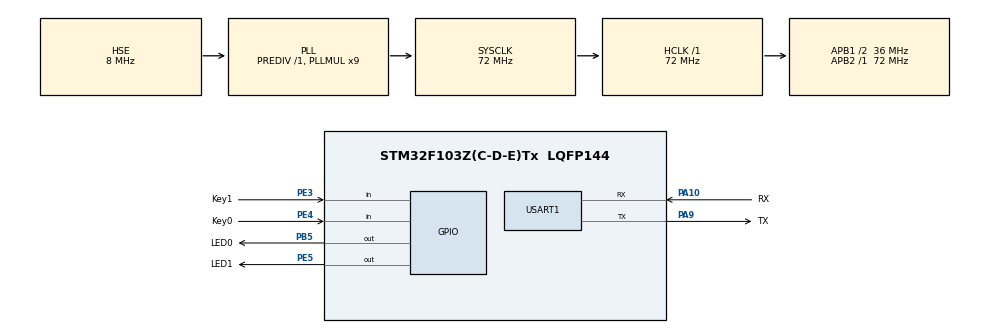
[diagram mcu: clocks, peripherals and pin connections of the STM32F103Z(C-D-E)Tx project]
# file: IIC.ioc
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Mcu.Family=STM32F1
Mcu.Name=STM32F103Z(C-D-E)Tx
Mcu.Package=LQFP144
NVIC.PriorityGroup=NVIC_PRIORITYGROUP_4
NVIC.USART1_IRQn=true\:2\:0\:true\:false\:true\:true\:true
OSC_IN.Mode=HSE-External-Oscillator
OSC_IN.Signal=RCC_OSC_IN
OSC_OUT.Mode=HSE-External-Oscillator
OSC_OUT.Signal=RCC_OSC_OUT
PA10.GPIO_Label=RX
PA10.Mode=Asynchronous
PA10.Signal=USART1_RX
PA13.Mode=Serial_Wire
PA13.Signal=SYS_JTMS-SWDIO
PA14.Mode=Serial_Wire
PA14.Signal=SYS_JTCK-SWCLK
PA9.GPIO_Label=TX
PA9.Mode=Asynchronous
PA9.Signal=USART1_TX
PB5.GPIO_Label=LED0
PB5.GPIO_ModeDefaultOutputPP=GPIO_MODE_OUTPUT_PP
PB5.GPIO_PuPd=GPIO_PULLUP
PB5.GPIO_Speed=GPIO_SPEED_FREQ_HIGH
PB5.PinState=GPIO_PIN_SET
PB5.Signal=GPIO_Output
PC14-OSC32_IN.Mode=LSE-External-Oscillator
PC14-OSC32_IN.Signal=RCC_OSC32_IN
PC15-OSC32_OUT.Mode=LSE-External-Oscillator
PC15-OSC32_OUT.Signal=RCC_OSC32_OUT
PE3.GPIO_Label=Key1
PE3.GPIO_PuPd=GPIO_PULLUP
PE3.Signal=GPIO_Input
PE4.GPIO_Label=Key0
PE4.GPIO_PuPd=GPIO_PULLUP
PE4.Signal=GPIO_Input
PE5.GPIO_Label=LED1
PE5.GPIO_ModeDefaultOutputPP=GPIO_MODE_OUTPUT_PP
PE5.GPIO_PuPd=GPIO_PULLUP
PE5.GPIO_Speed=GPIO_SPEED_FREQ_HIGH
PE5.PinState=GPIO_PIN_SET
PE5.Signal=GPIO_Output
ProjectManager.HeapSize=0x200
ProjectManager.StackSize=0x400
ProjectManager.TargetToolchain=MDK-ARM V5
RCC.AHBFreq_Value=72000000
RCC.APB1CLKDivider=RCC_HCLK_DIV2
RCC.APB1Freq_Value=36000000
RCC.APB1TimFreq_Value=72000000
RCC.APB2Freq_Value=72000000
RCC.APB2TimFreq_Value=72000000
RCC.HCLKFreq_Value=72000000
RCC.PLLMUL=RCC_PLL_MUL9
RCC.PLLSourceVirtual=RCC_PLLSOURCE_HSE
RCC.SYSCLKFreq_VALUE=72000000
RCC.SYSCLKSource=RCC_SYSCLKSOURCE_PLLCLK
RCC.USBFreq_Value=72000000
USART1.VirtualMode=VM_ASYNC
board=custom

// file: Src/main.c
/* USER CODE BEGIN Header */
/**
  ******************************************************************************
  * @file           : main.c
  * @brief          : Main program body
  ******************************************************************************
  * @attention
  *
  * <h2><center>&copy; Copyright (c) 2021 STMicroelectronics.
  * All rights reserved.</center></h2>
  *
  * This software component is licensed by ST under BSD 3-Clause license,
  * the "License"; You may not use this file except in compliance with the
  * License. You may obtain a copy of the License at:
  *                        opensource.org/licenses/BSD-3-Clause
  *
  ******************************************************************************
  */
/* USER CODE END Header */

#include "main.h"
#include "usart.h"
#include "gpio.h"

void SystemClock_Config(void);

/* USER CODE BEGIN 0 */
#define USART_REC_LEN 200
uint8_t Res;
uint8_t USART1_RX_BUF[USART_REC_LEN];
uint16_t USART1_RX_STA;
/* USER CODE END 0 */

int main(void)
{

  /* MCU Configuration--------------------------------------------------------*/

  /* Reset of all peripherals, Initializes the Flash interface and the Systick. */
  HAL_Init();

  /* Configure the system clock */
  SystemClock_Config();

  /* Initialize all configured peripherals */
  MX_GPIO_Init();
  MX_USART1_UART_Init();

  /* Infinite loop */
  /* USER CODE BEGIN WHILE */
  HAL_UART_Receive_IT(&huart1,&Res,1);
  HAL_UART_Transmit_IT(&huart1,"USART1_Yes",sizeof("USART1_Yes"));
  while(huart1.gState != HAL_UART_STATE_READY);
  while (1)
  {
	  HAL_GPIO_TogglePin(LED0_GPIO_Port,LED0_Pin);
	  HAL_Delay(200);
	  if(USART1_RX_STA &0X8000)
	  {
		  HAL_UART_Transmit_IT(&huart1,"Get_Dat:",sizeof("Get_Dat:"));
		  // 等待发送完成
		  while(huart1.gState != HAL_UART_STATE_READY);
		  HAL_UART_Transmit_IT(&huart1,USART1_RX_BUF,USART1_RX_STA&0x7FFF);
		  while(huart1.gState != HAL_UART_STATE_READY);

		  uint8_t ii=2;
		  while(ii--)
		  {
			  HAL_GPIO_TogglePin(LED1_GPIO_Port,LED1_Pin);
			  HAL_Delay(200);
		  }

		  USART1_RX_STA=0;
	  }
    /* USER CODE END WHILE */

  }
}

void SystemClock_Config(void)
{
  RCC_OscInitTypeDef RCC_OscInitStruct = {0};
  RCC_ClkInitTypeDef RCC_ClkInitStruct = {0};

  /** Initializes the CPU, AHB and APB busses clocks
  */
  RCC_OscInitStruct.OscillatorType = RCC_OSCILLATORTYPE_HSE;
  RCC_OscInitStruct.HSEState = RCC_HSE_ON;
  RCC_OscInitStruct.HSEPredivValue = RCC_HSE_PREDIV_DIV1;
  RCC_OscInitStruct.HSIState = RCC_HSI_ON;
  RCC_OscInitStruct.PLL.PLLState = RCC_PLL_ON;
  RCC_OscInitStruct.PLL.PLLSource = RCC_PLLSOURCE_HSE;
  RCC_OscInitStruct.PLL.PLLMUL = RCC_PLL_MUL9;
  if (HAL_RCC_OscConfig(&RCC_OscInitStruct) != HAL_OK)
  {
    Error_Handler();
  }
  /** Initializes the CPU, AHB and APB busses clocks
  */
  RCC_ClkInitStruct.ClockType = RCC_CLOCKTYPE_HCLK|RCC_CLOCKTYPE_SYSCLK
                              |RCC_CLOCKTYPE_PCLK1|RCC_CLOCKTYPE_PCLK2;
  RCC_ClkInitStruct.SYSCLKSource = RCC_SYSCLKSOURCE_PLLCLK;
  RCC_ClkInitStruct.AHBCLKDivider = RCC_SYSCLK_DIV1;
  RCC_ClkInitStruct.APB1CLKDivider = RCC_HCLK_DIV2;
  RCC_ClkInitStruct.APB2CLKDivider = RCC_HCLK_DIV1;

  if (HAL_RCC_ClockConfig(&RCC_ClkInitStruct, FLASH_LATENCY_2) != HAL_OK)
  {
    Error_Handler();
  }
}

/* USER CODE BEGIN 4 */
/**
  * @brief  回调函数
  * @param
  * @retval
  */
void HAL_UART_RxCpltCallback(UART_HandleTypeDef *huart)
{
    /* 判断是哪个串口触发的中断 */
    if(huart ->Instance == USART1)
    {
        //处理接受到的数据
		if((USART1_RX_STA&0x8000)==0)//接收未完
		{
			//读取接收到的数据
			if(Res==0x0D)
			{
				USART1_RX_STA|=0x8000;
				HAL_UART_Receive_IT(&huart1, &Res, 1);
			}
			else
			{
				USART1_RX_BUF[USART1_RX_STA&0X3FFF]=Res ;
				USART1_RX_STA++;
				if(USART1_RX_STA>(USART_REC_LEN-1))
				USART1_RX_STA=0;
			}
		}
		//等待下一次接收中�?
		HAL_UART_Receive_IT(huart,&Res,1);
    }
}
/* USER CODE END 4 */

void Error_Handler(void)
{
}

/************************ (C) COPYRIGHT STMicroelectronics *****END OF FILE****/
